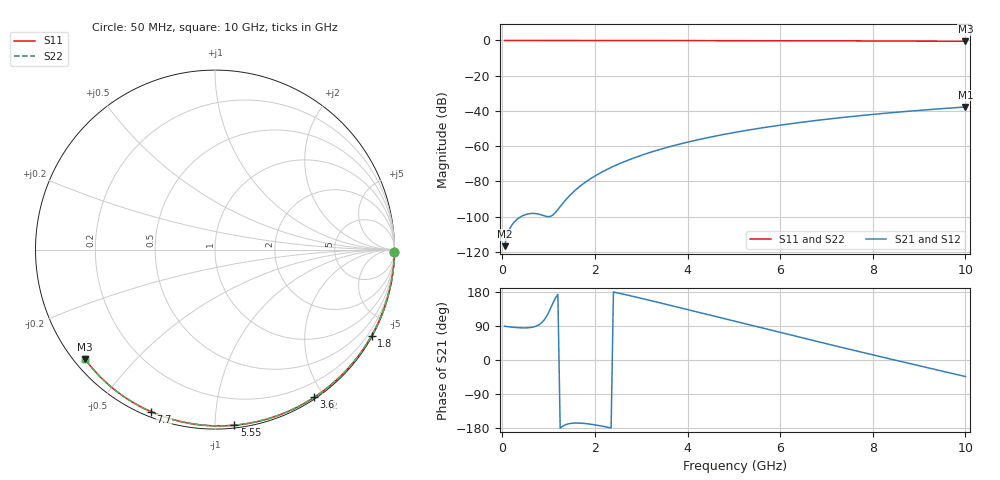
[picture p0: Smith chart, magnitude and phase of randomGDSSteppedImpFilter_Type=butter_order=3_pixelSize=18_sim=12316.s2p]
! freq	dB(S11)	phase(S11)	dB(S12)	phase(S12)
!  dB(S21)	phase(S21)	dB(S22)	phase(S22)
!S-par simulation data
#  GHz  S  DB  R 50
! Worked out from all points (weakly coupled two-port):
!   200 points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, 50 MHz to 10 GHz, reference 50 ohm
!   highest |S21| = -37.75 dB at 10 GHz (marker M1); lowest = -116.7 dB at 50 MHz (marker M2)
!   lowest |S11| = -0.5 dB at 10 GHz (marker M3), VSWR 36.60, Z = 1.55 - j18.3 ohm
!   |S11| at or under -10 dB: nowhere
!   |S22| runs from -0.5 to 0.0 dB; largest |S21 - S12| = 0
!   S11 on the Smith chart (normalised r, x): 50 MHz: open; 1.8 GHz: 0.03, -3.90; 3.6 GHz: 0.02, -1.88; 5.55 GHz: 0.02, -1.12; 7.7 GHz: 0.02, -0.68; 10 GHz: 0.03, -0.37
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0.05  -0.00 -0.8  -116.73 89.1  -116.73 89.1  -0.00 -0.8
0.45  -0.01 -7.3  -99.33 84.7  -99.33 84.7  -0.01 -7.3
0.9  -0.02 -14.5  -99.45 105.0  -99.45 105.0  -0.02 -14.5
1.75  -0.04 -28.0  -81.26 -167.1  -81.26 -167.1  -0.04 -28.0
1.8  -0.04 -28.8  -80.31 -167.7  -80.31 -167.7  -0.04 -28.8
1.85  -0.04 -29.5  -79.41 -168.5  -79.41 -168.5  -0.04 -29.5
2  -0.04 -31.9  -76.92 -171.1  -76.92 -171.1  -0.04 -31.9
2.15  -0.04 -34.2  -74.68 -174.4  -74.68 -174.4  -0.04 -34.2
2.35  -0.05 -37.3  -72.04 -179.3  -72.04 -179.3  -0.05 -37.3
2.55  -0.05 -40.4  -69.69 175.4  -69.69 175.4  -0.05 -40.4
2.95  -0.06 -46.4  -65.65 164.2  -65.65 164.2  -0.06 -46.4
3.4  -0.07 -53.2  -61.87 151.0  -61.87 151.0  -0.07 -53.2
3.6  -0.08 -56.1  -60.39 145.1  -60.39 145.1  -0.08 -56.1
4.3  -0.09 -66.3  -55.91 123.9  -55.91 123.9  -0.09 -66.3
5.05  -0.12 -76.8  -52.04 101.2  -52.04 101.2  -0.12 -76.8
5.55  -0.14 -83.7  -49.84 86.1  -49.84 86.1  -0.14 -83.7
6.1  -0.16 -91.0  -47.70 69.6  -47.70 69.6  -0.16 -91.0
6.7  -0.19 -98.9  -45.65 51.7  -45.65 51.7  -0.19 -98.9
7.7  -0.26 -111.6  -42.73 22.3  -42.73 22.3  -0.26 -111.6
8.35  -0.31 -119.7  -41.12 3.5  -41.12 3.5  -0.31 -119.7
9.2  -0.39 -130.1  -39.26 -20.9  -39.26 -20.9  -0.39 -130.1
10  -0.47 -139.9  -37.75 -43.6  -37.75 -43.6  -0.47 -139.9
